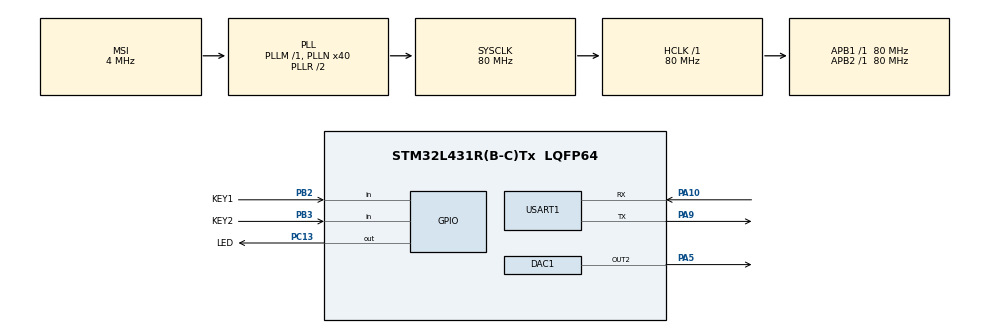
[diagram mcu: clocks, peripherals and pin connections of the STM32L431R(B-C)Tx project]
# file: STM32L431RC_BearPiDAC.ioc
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DAC1.DAC_Channel-DAC_OUT2=DAC_CHANNEL_2
Mcu.Family=STM32L4
Mcu.Name=STM32L431R(B-C)Tx
Mcu.Package=LQFP64
NVIC.PriorityGroup=NVIC_PRIORITYGROUP_4
PA10.Mode=Asynchronous
PA10.Signal=USART1_RX
PA5.Signal=COMP_DAC12_group
PA9.Mode=Asynchronous
PA9.Signal=USART1_TX
PB2.GPIO_Label=KEY1
PB2.GPIO_PuPd=GPIO_PULLUP
PB2.Signal=GPIO_Input
PB3\ (JTDO-TRACESWO).GPIO_Label=KEY2
PB3\ (JTDO-TRACESWO).GPIO_PuPd=GPIO_PULLUP
PB3\ (JTDO-TRACESWO).Signal=GPIO_Input
PC13.GPIO_Label=LED
PC13.Signal=GPIO_Output
ProjectManager.HeapSize=0x200
ProjectManager.StackSize=0x400
ProjectManager.TargetToolchain=MDK-ARM V5
RCC.AHBFreq_Value=80000000
RCC.APB1Freq_Value=80000000
RCC.APB1TimFreq_Value=80000000
RCC.APB2Freq_Value=80000000
RCC.APB2TimFreq_Value=80000000
RCC.CortexFreq_Value=80000000
RCC.HCLKFreq_Value=80000000
RCC.HSE_VALUE=8000000
RCC.HSI48_VALUE=48000000
RCC.HSI_VALUE=16000000
RCC.LSE_VALUE=32768
RCC.MSI_VALUE=4000000
RCC.PLLN=40
RCC.SYSCLKFreq_VALUE=80000000
RCC.SYSCLKSource=RCC_SYSCLKSOURCE_PLLCLK
RCC.VCOOutputFreq_Value=160000000
SH.COMP_DAC12_group.0=DAC1_OUT2,DAC_OUT2
USART1.VirtualMode-Asynchronous=VM_ASYNC
board=custom

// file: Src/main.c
/**
  ******************************************************************************
  * @file           : main.c
  * @brief          : Main program body
  ******************************************************************************
  ** This notice applies to any and all portions of this file
  * that are not between comment pairs USER CODE BEGIN and
  * USER CODE END. Other portions of this file, whether
  * inserted by the user or by software development tools
  * are owned by their respective copyright owners.
  *
  * COPYRIGHT(c) 2019 STMicroelectronics
  *
  * Redistribution and use in source and binary forms, with or without modification,
  * are permitted provided that the following conditions are met:
  *   1. Redistributions of source code must retain the above copyright notice,
  *      this list of conditions and the following disclaimer.
  *   2. Redistributions in binary form must reproduce the above copyright notice,
  *      this list of conditions and the following disclaimer in the documentation
  *      and/or other materials provided with the distribution.
  *   3. Neither the name of STMicroelectronics nor the names of its contributors
  *      may be used to endorse or promote products derived from this software
  *      without specific prior written permission.
  *
  * THIS SOFTWARE IS PROVIDED BY THE COPYRIGHT HOLDERS AND CONTRIBUTORS "AS IS"
  * AND ANY EXPRESS OR IMPLIED WARRANTIES, INCLUDING, BUT NOT LIMITED TO, THE
  * IMPLIED WARRANTIES OF MERCHANTABILITY AND FITNESS FOR A PARTICULAR PURPOSE ARE
  * DISCLAIMED. IN NO EVENT SHALL THE COPYRIGHT HOLDER OR CONTRIBUTORS BE LIABLE
  * FOR ANY DIRECT, INDIRECT, INCIDENTAL, SPECIAL, EXEMPLARY, OR CONSEQUENTIAL
  * DAMAGES (INCLUDING, BUT NOT LIMITED TO, PROCUREMENT OF SUBSTITUTE GOODS OR
  * SERVICES; LOSS OF USE, DATA, OR PROFITS; OR BUSINESS INTERRUPTION) HOWEVER
  * CAUSED AND ON ANY THEORY OF LIABILITY, WHETHER IN CONTRACT, STRICT LIABILITY,
  * OR TORT (INCLUDING NEGLIGENCE OR OTHERWISE) ARISING IN ANY WAY OUT OF THE USE
  * OF THIS SOFTWARE, EVEN IF ADVISED OF THE POSSIBILITY OF SUCH DAMAGE.
  *
  ******************************************************************************
  */
#include "main.h"
#include "stm32l4xx_hal.h"
#include "dac.h"
#include "usart.h"
#include "gpio.h"

/* USER CODE BEGIN Includes */
#include "stdio.h"
/* USER CODE END Includes */

/* USER CODE BEGIN PV */
/* Private variables ---------------------------------------------------------*/

/* USER CODE END PV */

void SystemClock_Config(void);

/* USER CODE BEGIN PFP */
/* Private function prototypes -----------------------------------------------*/

/* USER CODE END PFP */

int main(void)
{
  /* USER CODE BEGIN 1 */
 int DACValue=0;
  /* USER CODE END 1 */

  /* MCU Configuration----------------------------------------------------------*/

  /* Reset of all peripherals, Initializes the Flash interface and the Systick. */
  HAL_Init();

  /* Configure the system clock */
  SystemClock_Config();

  /* Initialize all configured peripherals */
  MX_GPIO_Init();
  MX_DAC1_Init();
  MX_USART1_UART_Init();
  /* USER CODE BEGIN 2 */
  HAL_DAC_Start(&hdac1, DAC1_CHANNEL_2);//启动DAC转换
  /* USER CODE END 2 */

  /* Infinite loop */
  while (1)
  {

  /* USER CODE BEGIN 3 */
   if(HAL_GPIO_ReadPin(KEY1_GPIO_Port,KEY1_Pin)==GPIO_PIN_RESET)
	 {
		  HAL_Delay(100);
		 if(HAL_GPIO_ReadPin(KEY1_GPIO_Port,KEY1_Pin)==GPIO_PIN_RESET)
	   {
		  DACValue+=10;
			 if(DACValue>255)
				 DACValue=255;
			 HAL_DAC_SetValue(&hdac1, DAC1_CHANNEL_2, DAC_ALIGN_8B_R, DACValue);
			 printf(" KEY1+ DACvalue:%d,Voltage:%3.3f\r\n", DACValue,DACValue*3.41/255);
		 }
	 }
	 if(HAL_GPIO_ReadPin(KEY2_GPIO_Port,KEY2_Pin)==GPIO_PIN_RESET)
	 {
		  HAL_Delay(100);
		 if(HAL_GPIO_ReadPin(KEY2_GPIO_Port,KEY2_Pin)==GPIO_PIN_RESET)
	   {
		  DACValue-=10;
			 if(DACValue<0)
				 DACValue=0;
			 HAL_DAC_SetValue(&hdac1, DAC1_CHANNEL_2, DAC_ALIGN_8B_R, DACValue);
			 printf(" KEY2- DACvalue:%d,Voltage:%3.3f\r\n", DACValue,DACValue*3.41/255);
		 }
	 }

  }
  /* USER CODE END 3 */

}

void SystemClock_Config(void)
{

  RCC_OscInitTypeDef RCC_OscInitStruct;
  RCC_ClkInitTypeDef RCC_ClkInitStruct;
  RCC_PeriphCLKInitTypeDef PeriphClkInit;

    /**Initializes the CPU, AHB and APB busses clocks
    */
  RCC_OscInitStruct.OscillatorType = RCC_OSCILLATORTYPE_MSI;
  RCC_OscInitStruct.MSIState = RCC_MSI_ON;
  RCC_OscInitStruct.MSICalibrationValue = 0;
  RCC_OscInitStruct.MSIClockRange = RCC_MSIRANGE_6;
  RCC_OscInitStruct.PLL.PLLState = RCC_PLL_ON;
  RCC_OscInitStruct.PLL.PLLSource = RCC_PLLSOURCE_MSI;
  RCC_OscInitStruct.PLL.PLLM = 1;
  RCC_OscInitStruct.PLL.PLLN = 40;
  RCC_OscInitStruct.PLL.PLLP = RCC_PLLP_DIV7;
  RCC_OscInitStruct.PLL.PLLQ = RCC_PLLQ_DIV2;
  RCC_OscInitStruct.PLL.PLLR = RCC_PLLR_DIV2;
  if (HAL_RCC_OscConfig(&RCC_OscInitStruct) != HAL_OK)
  {
    _Error_Handler(__FILE__, __LINE__);
  }

    /**Initializes the CPU, AHB and APB busses clocks
    */
  RCC_ClkInitStruct.ClockType = RCC_CLOCKTYPE_HCLK|RCC_CLOCKTYPE_SYSCLK
                              |RCC_CLOCKTYPE_PCLK1|RCC_CLOCKTYPE_PCLK2;
  RCC_ClkInitStruct.SYSCLKSource = RCC_SYSCLKSOURCE_PLLCLK;
  RCC_ClkInitStruct.AHBCLKDivider = RCC_SYSCLK_DIV1;
  RCC_ClkInitStruct.APB1CLKDivider = RCC_HCLK_DIV1;
  RCC_ClkInitStruct.APB2CLKDivider = RCC_HCLK_DIV1;

  if (HAL_RCC_ClockConfig(&RCC_ClkInitStruct, FLASH_LATENCY_4) != HAL_OK)
  {
    _Error_Handler(__FILE__, __LINE__);
  }

  PeriphClkInit.PeriphClockSelection = RCC_PERIPHCLK_USART1;
  PeriphClkInit.Usart1ClockSelection = RCC_USART1CLKSOURCE_PCLK2;
  if (HAL_RCCEx_PeriphCLKConfig(&PeriphClkInit) != HAL_OK)
  {
    _Error_Handler(__FILE__, __LINE__);
  }

    /**Configure the main internal regulator output voltage
    */
  if (HAL_PWREx_ControlVoltageScaling(PWR_REGULATOR_VOLTAGE_SCALE1) != HAL_OK)
  {
    _Error_Handler(__FILE__, __LINE__);
  }

    /**Configure the Systick interrupt time
    */
  HAL_SYSTICK_Config(HAL_RCC_GetHCLKFreq()/1000);

    /**Configure the Systick
    */
  HAL_SYSTICK_CLKSourceConfig(SYSTICK_CLKSOURCE_HCLK);

  /* SysTick_IRQn interrupt configuration */
  HAL_NVIC_SetPriority(SysTick_IRQn, 0, 0);
}

void _Error_Handler(char *file, int line)
{
  while(1)
  {
  }
}

/************************ (C) COPYRIGHT STMicroelectronics *****END OF FILE****/
